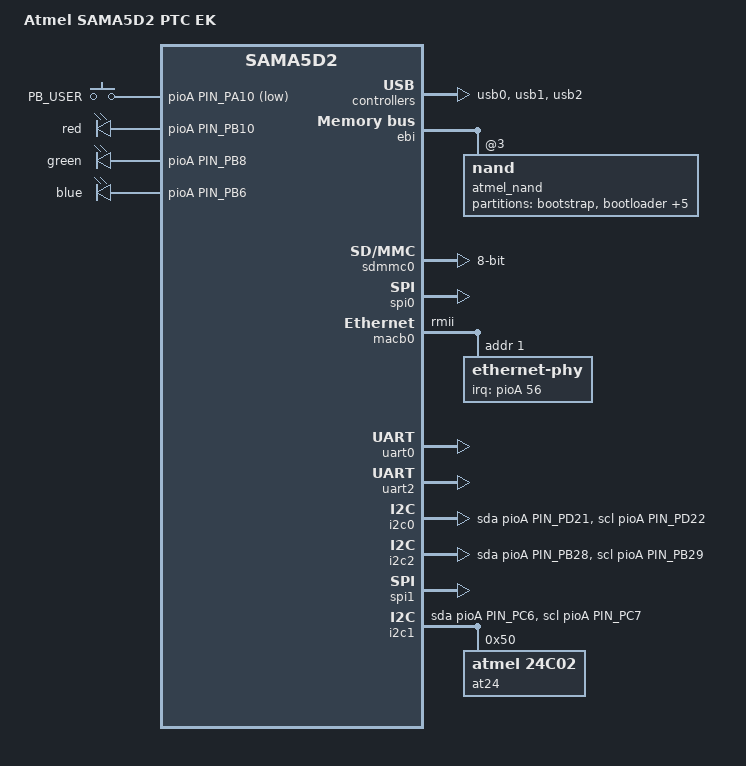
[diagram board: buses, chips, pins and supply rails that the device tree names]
// SPDX-License-Identifier: (GPL-2.0+ OR X11)
/*
 * at91-sama5d2_ptc_ek.dts - Device Tree file for SAMA5D2 PTC EK board
 *
 *  Copyright (C) 2017 Microchip/Atmel,
 *		  2017 Wenyou Yang <wenyou.yang@microchip.com>
 *		  2017 Ludovic Desroches <ludovic.desroches@microchip.com>
 */
/dts-v1/;
#include "sama5d2.dtsi"
#include "sama5d2-pinfunc.h"
#include <dt-bindings/mfd/atmel-flexcom.h>
#include <dt-bindings/gpio/gpio.h>
#include <dt-bindings/input/input.h>
#include <dt-bindings/pinctrl/at91.h>

/ {
	model = "Atmel SAMA5D2 PTC EK";
	compatible = "atmel,sama5d2-ptc_ek", "atmel,sama5d2", "atmel,sama5";

	aliases {
		serial0 = &uart0;	/* DBGU */
		i2c0	= &i2c0;	/* mikroBUS 1 */
		i2c1	= &i2c1;	/* XPRO EXT1 */
		i2c2	= &i2c2;
	};

	chosen {
		stdout-path = "serial0:115200n8";
	};

	clocks {
		slow_xtal {
			clock-frequency = <32768>;
		};

		main_xtal {
			clock-frequency = <24000000>;
		};
	};

	ahb {
		usb0: gadget@300000 {
			atmel,vbus-gpio = <&pioA PIN_PB11 GPIO_ACTIVE_HIGH>;
			pinctrl-names = "default";
			pinctrl-0 = <&pinctrl_usba_vbus>;
			status = "okay";
		};

		usb1: ohci@400000 {
			num-ports = <3>;
			atmel,vbus-gpio = <0
					   &pioA PIN_PB12 GPIO_ACTIVE_HIGH
					   0
					  >;
			pinctrl-names = "default";
			pinctrl-0 = <&pinctrl_usb_default>;
			status = "okay";
		};

		usb2: ehci@500000 {
			status = "okay";
		};

		ebi: ebi@10000000 {
			pinctrl-names = "default";
			pinctrl-0 = <&pinctrl_nand_default>;
			status = "okay"; /* conflicts with sdmmc1 and qspi0 */

			nand_controller: nand-controller {
				status = "okay";

				nand@3 {
					reg = <0x3 0x0 0x2>;
					atmel,rb = <0>;
					nand-bus-width = <8>;
					nand-ecc-mode = "hw";
					nand-on-flash-bbt;
					label = "atmel_nand";

					partitions {
						compatible = "fixed-partitions";
						#address-cells = <1>;
						#size-cells = <1>;

						at91bootstrap@0 {
							label = "bootstrap";
							reg = <0x0 0x40000>;
						};

						bootloader@40000 {
							label = "bootloader";
							reg = <0x40000 0xc0000>;
						};

						bootloaderenvred@0x100000 {
							label = "bootloader env redundant";
							reg = <0x100000 0x40000>;
						};

						bootloaderenv@0x140000 {
							label = "bootloader env";
							reg = <0x140000 0x40000>;
						};

						dtb@180000 {
							label = "device tree";
							reg = <0x180000 0x80000>;
						};

						kernel@200000 {
							label = "kernel";
							reg = <0x200000 0x600000>;
						};

						rootfs@800000 {
							label = "rootfs";
							reg = <0x800000 0x1f800000>;
						};
					};
				};
			};
		};

		sdmmc0: sdio-host@a0000000 {
			bus-width = <8>;
			pinctrl-names = "default";
			pinctrl-0 = <&pinctrl_sdmmc0_default>;
			status = "okay";
		};

		apb {
			spi0: spi@f8000000 {
				pinctrl-names = "default";
				pinctrl-0 = <&pinctrl_spi0_default>;
				status = "okay";
			};

			macb0: ethernet@f8008000 {
				pinctrl-names = "default";
				pinctrl-0 = <&pinctrl_macb0_default &pinctrl_macb0_phy_irq>;
				phy-mode = "rmii";
				status = "okay";

				ethernet-phy@1 {
					reg = <0x1>;
					interrupt-parent = <&pioA>;
					interrupts = <56 IRQ_TYPE_LEVEL_LOW>;
				};
			};

			tcb0: timer@f800c000 {
				timer0: timer@0 {
					compatible = "atmel,tcb-timer";
					reg = <0>;
				};

				timer1: timer@1 {
					compatible = "atmel,tcb-timer";
					reg = <1>;
				};
			};

			uart0: serial@f801c000 {
				pinctrl-names = "default";
				pinctrl-0 = <&pinctrl_uart0_default>;
				atmel,use-dma-rx;
				atmel,use-dma-tx;
				status = "okay";
			};

			uart2: serial@f8024000 {
				pinctrl-names = "default";
				pinctrl-0 = <&pinctrl_uart2_default>;
				atmel,use-dma-rx;
				atmel,use-dma-tx;
				status = "okay";
			};

			i2c0: i2c@f8028000 {
				dmas = <0>, <0>;
				pinctrl-names = "default", "gpio";
				pinctrl-0 = <&pinctrl_i2c0_default>;
				pinctrl-1 = <&pinctrl_i2c0_gpio>;
				sda-gpios = <&pioA PIN_PD21 GPIO_ACTIVE_HIGH>;
				scl-gpios = <&pioA PIN_PD22 (GPIO_ACTIVE_HIGH | GPIO_OPEN_DRAIN)>;
				status = "okay";
			};

			flx0: flexcom@f8034000 {
				atmel,flexcom-mode = <ATMEL_FLEXCOM_MODE_TWI>;
				status = "okay";

				i2c2: i2c@600 {
					dmas = <0>, <0>;
					pinctrl-names = "default", "gpio";
					pinctrl-0 = <&pinctrl_flx0_default>;
					pinctrl-1 = <&pinctrl_flx0_gpio>;
					sda-gpios = <&pioA PIN_PB28 GPIO_ACTIVE_HIGH>;
					scl-gpios = <&pioA PIN_PB29 (GPIO_ACTIVE_HIGH | GPIO_OPEN_DRAIN)>;
					status = "okay";
				};
			};

			shdwc@f8048010 {
				atmel,shdwc-debouncer = <976>;

				input@0 {
					reg = <0>;
				};
			};

			watchdog@f8048040 {
				status = "okay";
			};

			spi1: spi@fc000000 {
				pinctrl-names = "default";
				pinctrl-0 = <&pinctrl_spi1_default>;
				status = "okay";
			};

			i2c1: i2c@fc028000 {
				dmas = <0>, <0>;
				pinctrl-names = "default", "gpio";
				pinctrl-0 = <&pinctrl_i2c1_default>;
				pinctrl-1 = <&pinctrl_i2c1_gpio>;
				sda-gpios = <&pioA PIN_PC6 GPIO_ACTIVE_HIGH>;
				scl-gpios = <&pioA PIN_PC7 (GPIO_ACTIVE_HIGH | GPIO_OPEN_DRAIN)>;
				status = "okay";

				at24@50 {
					compatible = "atmel,24c02";
					reg = <0x50>;
					pagesize = <8>;
				};
			};

			pinctrl@fc038000 {
				pinctrl_flx0_default: flx0_default {
					pinmux = <PIN_PB28__FLEXCOM0_IO0>,
						 <PIN_PB29__FLEXCOM0_IO1>;
					bias-disable;
				};

				pinctrl_flx0_gpio: flx0_gpio {
					pinmux = <PIN_PB28__GPIO>,
						 <PIN_PB29__GPIO>;
					bias-disable;
				};

				pinctrl_i2c0_default: i2c0_default {
					pinmux = <PIN_PD21__TWD0>,
						 <PIN_PD22__TWCK0>;
					bias-disable;
				};

				pinctrl_i2c0_gpio: i2c0_gpio {
					pinmux = <PIN_PD21__GPIO>,
						 <PIN_PD22__GPIO>;
					bias-disable;
				};

				pinctrl_i2c1_default: i2c1_default {
					pinmux = <PIN_PC6__TWD1>,
						 <PIN_PC7__TWCK1>;
					bias-disable;
				};

				pinctrl_i2c1_gpio: i2c1_gpio {
					pinmux = <PIN_PC6__GPIO>,
						 <PIN_PC7__GPIO>;
					bias-disable;
				};

				pinctrl_key_gpio_default: key_gpio_default {
					pinmux = <PIN_PA10__GPIO>;
					bias-pull-up;
				};

				pinctrl_led_gpio_default: led_gpio_default {
					pinmux = <PIN_PB6__GPIO>,
						 <PIN_PB8__GPIO>,
						 <PIN_PB10__GPIO>;
					bias-pull-up;
				};

				pinctrl_macb0_default: macb0_default {
					pinmux = <PIN_PB14__GTXCK>,
						 <PIN_PB15__GTXEN>,
						 <PIN_PB16__GRXDV>,
						 <PIN_PB17__GRXER>,
						 <PIN_PB18__GRX0>,
						 <PIN_PB19__GRX1>,
						 <PIN_PB20__GTX0>,
						 <PIN_PB21__GTX1>,
						 <PIN_PB22__GMDC>,
						 <PIN_PB23__GMDIO>;
					bias-disable;
				};

				pinctrl_macb0_phy_irq: macb0_phy_irq {
					pinmux = <PIN_PB24__GPIO>;
					bias-disable;
				};

				pinctrl_nand_default: nand_default {
					re_we_data {
						pinmux = <PIN_PA22__D0>,
							 <PIN_PA23__D1>,
							 <PIN_PA24__D2>,
							 <PIN_PA25__D3>,
							 <PIN_PA26__D4>,
							 <PIN_PA27__D5>,
							 <PIN_PA28__D6>,
							 <PIN_PA29__D7>,
							 <PIN_PA30__NWE_NANDWE>,
							 <PIN_PB2__NRD_NANDOE>;
						bias-pull-up;
						atmel,drive-strength = <ATMEL_PIO_DRVSTR_ME>;
					};

					ale_cle_rdy_cs {
						pinmux = <PIN_PB0__A21_NANDALE>,
							 <PIN_PB1__A22_NANDCLE>,
							 <PIN_PC8__NANDRDY>,
							 <PIN_PA31__NCS3>;
						bias-pull-up;
					};
				};

				pinctrl_sdmmc0_default: sdmmc0_default {
					cmd_data {
						pinmux = <PIN_PA1__SDMMC0_CMD>,
							 <PIN_PA2__SDMMC0_DAT0>,
							 <PIN_PA3__SDMMC0_DAT1>,
							 <PIN_PA4__SDMMC0_DAT2>,
							 <PIN_PA5__SDMMC0_DAT3>,
							 <PIN_PA6__SDMMC0_DAT4>,
							 <PIN_PA7__SDMMC0_DAT5>,
							 <PIN_PA8__SDMMC0_DAT6>,
							 <PIN_PA9__SDMMC0_DAT7>;
						bias-pull-up;
					};

					ck_cd_vddsel {
						pinmux = <PIN_PA0__SDMMC0_CK>,
							 <PIN_PA11__SDMMC0_VDDSEL>,
							 <PIN_PA13__SDMMC0_CD>;
						bias-disable;
					};
				};

				pinctrl_spi0_default: spi0_default {
					pinmux = <PIN_PA14__SPI0_SPCK>,
						 <PIN_PA15__SPI0_MOSI>,
						 <PIN_PA16__SPI0_MISO>,
						 <PIN_PA17__SPI0_NPCS0>;
					bias-disable;
				};

				pinctrl_spi1_default: spi1_default {
					pinmux = <PIN_PC1__SPI1_SPCK>,
						 <PIN_PC2__SPI1_MOSI>,
						 <PIN_PC3__SPI1_MISO>,
						 <PIN_PC4__SPI1_NPCS0>;
					bias-disable;
				};

				pinctrl_uart0_default: uart0_default {
					pinmux = <PIN_PB26__URXD0>,
						 <PIN_PB27__UTXD0>;
					bias-disable;
				};

				pinctrl_uart2_default: uart2_default {
					pinmux = <PIN_PD23__URXD2>,
						 <PIN_PD24__UTXD2>;
					bias-disable;
				};

				pinctrl_usb_default: usb_default {
					pinmux = <PIN_PB12__GPIO>;
					bias-disable;
				};

				pinctrl_usba_vbus: usba_vbus {
					pinmux = <PIN_PB11__GPIO>;
					bias-disable;
				};

			};

		};
	};

	gpio_keys {
		compatible = "gpio-keys";

		pinctrl-names = "default";
		pinctrl-0 = <&pinctrl_key_gpio_default>;

		bp1 {
			label = "PB_USER";
			gpios = <&pioA PIN_PA10 GPIO_ACTIVE_LOW>;
			linux,code = <KEY_PROG1>;
			wakeup-source;
		};
	};

	leds {
		compatible = "gpio-leds";
		pinctrl-names = "default";
		pinctrl-0 = <&pinctrl_led_gpio_default>;
		status = "okay";

		red {
			label = "red";
			gpios = <&pioA PIN_PB10 GPIO_ACTIVE_HIGH>;
		};

		green {
			label = "green";
			gpios = <&pioA PIN_PB8 GPIO_ACTIVE_HIGH>;
		};

		blue {
			label = "blue";
			gpios = <&pioA PIN_PB6 GPIO_ACTIVE_HIGH>;
			linux,default-trigger = "heartbeat";
		};
	};
};
